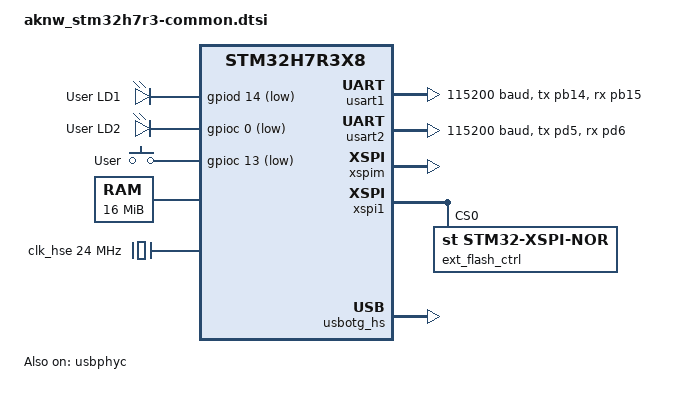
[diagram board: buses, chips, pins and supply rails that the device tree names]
/*
 * Copyright (c) 2024 STMicroelectronics
 * Copyright (c) 2025 JB-Lighting Lichtanlagentechnik
 *
 * SPDX-License-Identifier: Apache-2.0
 */

/dts-v1/;
#include <st/h7rs/stm32h7r3X8.dtsi>
#include <st/h7/stm32h7r3l8hxh-pinctrl.dtsi>
#include <zephyr/dt-bindings/input/input-event-codes.h>

/ {
	chosen {
		zephyr,console = &usart2;
		zephyr,shell-uart = &usart2;
		zephyr,dtcm = &dtcm;
		zephyr,sram = &sram0;
		//zephyr,canbus = &fdcan1;
	};

	leds: leds {
		compatible = "gpio-leds";

		red_led: led_1 {
			gpios = <&gpiod 14 GPIO_ACTIVE_LOW>;
			label = "User LD1";
		};

		green_led: led_2 {
			gpios = <&gpioc 0 GPIO_ACTIVE_LOW>;
			label = "User LD2";
		};
	};

	gpio_keys {
		compatible = "gpio-keys";

		user_button: button_0 {
			label = "User";
			gpios = <&gpioc 13 (GPIO_ACTIVE_LOW | GPIO_PULL_UP)>;
			zephyr,code = <INPUT_KEY_0>;
		};
	};

	aliases {
		led0 = &green_led;
		led2 = &red_led;
		sw0 = &user_button;
		watchdog0 = &iwdg;
		spi-flash0 = &w25q128;
		rtc = &rtc;
	};

	ext_memory: memory@90000000 {
		compatible = "zephyr,memory-region";
		reg = <0x90000000 DT_SIZE_M(16)>;
		zephyr,memory-region = "EXTMEM";
		zephyr,memory-attr = <DT_MEM_ARM(ATTR_MPU_FLASH)>;
	};
};
&sram2 {
	status = "okay";
	zephyr,memory-attr = <DT_MEM_ARM(ATTR_MPU_RAM_NOCACHE)>;//网络需要，ATTR_MPU_RAM_NOCACHE定义在memory-attr.h中
};


&pwr {
	power-supply = "smps-direct"; //根据原理图接的是smps
};
&clk_hsi48 {
	status = "okay";
};

&clk_hse {
	clock-frequency = <DT_FREQ_M(24)>;
	status = "okay";
};

&pll {
	div-m = <12>;
	mul-n = <250>;
	div-p = <2>;
	div-q = <2>;
	div-r = <2>;
	div-s = <2>;
	div-t = <2>;
	clocks = <&clk_hse>;
	status = "okay";
};
/* PLL2 for clocking the xspi peripheral */
&pll2 {
	div-m = <12>;
	mul-n = <200>;
	div-p = <2>;
	div-q = <2>;
	div-r = <2>;
	div-s = <2>;
	div-t = <2>;
	clocks = <&clk_hse>;
	status = "okay";
};

&rcc {
	clocks = <&pll>;
	clock-frequency = <DT_FREQ_M(250)>;
	dcpre = <1>;
	hpre = <1>;
	ppre1 = <2>;
	ppre2 = <2>;
	ppre4 = <2>;
	ppre5 = <2>;
};


&usart1 {
	pinctrl-0 = <&usart1_tx_pb14 &usart1_rx_pb15>;
	pinctrl-names = "default";
	current-speed = <115200>;
	status = "okay";
};

&usart2 {
	pinctrl-0 = <&usart2_tx_pd5 &usart2_rx_pd6>;
	pinctrl-names = "default";
	current-speed = <115200>;
	status = "okay";
};

&xspim {
	status = "okay";
};

&xspi1 {
	pinctrl-0 = <&xspim_p1_clk_po4 &xspim_p1_ncs1_po0
		     &xspim_p1_io0_pp0 &xspim_p1_io1_pp1
		     &xspim_p1_io2_pp2 &xspim_p1_io3_pp3
		     &xspim_p1_io4_pp4 &xspim_p1_io5_pp5
		     &xspim_p1_io6_pp6 &xspim_p1_io7_pp7
		     &xspim_p1_dqs0_po2>;
	pinctrl-names = "default";

	status = "okay";

	ext_flash_ctrl:w25q128: xspi-nor-flash@0 {
		compatible = "st,stm32-xspi-nor";
		reg = <0>;
		size = <DT_SIZE_M(128)>; /* 128Mbits */
		ospi-max-frequency = <DT_FREQ_M(20)>;
		spi-bus-width =  <XSPI_QUAD_MODE>;//<XSPI_OCTO_MODE>;
		data-rate = <XSPI_STR_TRANSFER>;
		//four-byte-opcodes;
		jedec-id = [52 21 18];
		writeoc = "PP_1_1_4"; //指令阶段用1线传输，地址阶段用1线传输，数据阶段用4线传输
		status = "okay";

		#address-cells = <1>;
		#size-cells = <1>;
		ranges = <0x0 0x90000000 DT_SIZE_M(16)>;

		ext_flash: nor-flash@0 {
			compatible = "soc-nv-flash";
			status = "okay";
			reg = <0x0 DT_SIZE_M(16)>;
			write-block-size = <1>;
			erase-block-size = <DT_SIZE_K(4)>;
			#address-cells = <1>;
			#size-cells = <1>;
			ranges;
		};
	};
};

zephyr_udc0: &usbotg_hs {
	pinctrl-0 = <&usb_otg_hs_dm_pm5 &usb_otg_hs_dp_pm6>;
	pinctrl-names = "default";
	status = "okay";
};

&usbphyc {
	/*
	 * There is no need to change `clocks` because
	 * we use the default configuration after reset:
	 *  USBPHYC kernel clock = HSE @ 24 MHz
	 */
	status = "okay";
};
